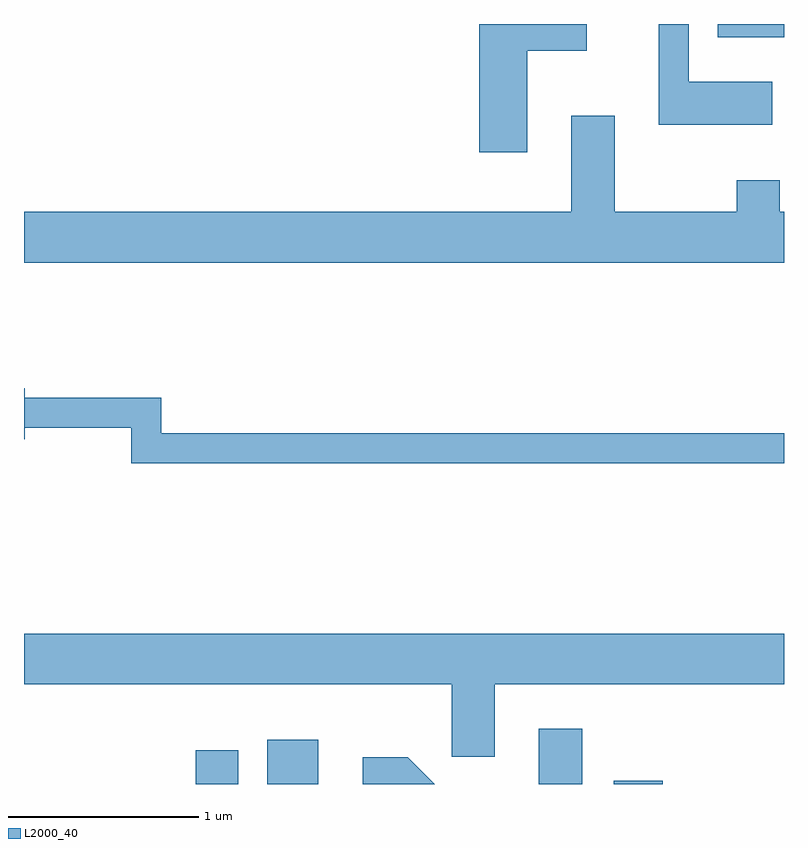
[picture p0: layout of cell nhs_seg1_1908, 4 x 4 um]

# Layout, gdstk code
import gdstk
lib = gdstk.Library(unit=1e-6, precision=1e-09)
def R(c, l, rs):  # rectangles x0, y0, x1, y1
    for r in rs: c.add(gdstk.rectangle(r[:2], r[2:], *l))
def P(c, l, *ps):  # polygons
    for p in ps: c.add(gdstk.Polygon(p, *l))
L2000_40 = (2000, 40)

nhs_seg1_1908 = lib.new_cell('nhs_seg1_1908')
R(nhs_seg1_1908, L2000_40, [(244.516,905.712,244.739,905.889), (244.891,905.712,245.159,905.944), (246.321,905.712,246.549,906.004), (246.716,905.712,246.974,905.729), (247.261,909.641,247.611,909.712)])
P(nhs_seg1_1908, L2000_40, [(247.549,909.409),(247.109,909.409),(247.109,909.712),(246.951,909.712),(246.951,909.181),(247.549,909.181)],
  [(246.259,909.571),(246.574,909.571),(246.574,909.712),(246.006,909.712),(246.006,909.036),(246.259,909.036)],
  [(247.611,908.724),(247.589,908.724),(247.589,908.889),(247.361,908.889),(247.361,908.724),(246.719,908.724),(246.719,909.229),(246.491,909.229),(246.491,908.724),(243.611,908.724),(243.611,908.456),(247.611,908.456)],
  [(247.611,907.559),(244.334,907.559),(244.334,907.744),(243.614,907.744),(243.614,907.794),(243.611,907.794),(243.611,907.526),(243.614,907.526),(243.614,907.586),(244.176,907.586),(244.176,907.401),(247.611,907.401)],
  [(246.089,906.236),(247.611,906.236),(247.611,906.504),(243.611,906.504),(243.611,906.236),(245.861,906.236),(245.861,905.856),(246.089,905.856)],
  [(245.632,905.854),(245.393,905.854),(245.393,905.712),(245.774,905.712)])

lib.write_gds('nhs_seg1_1908.gds')
